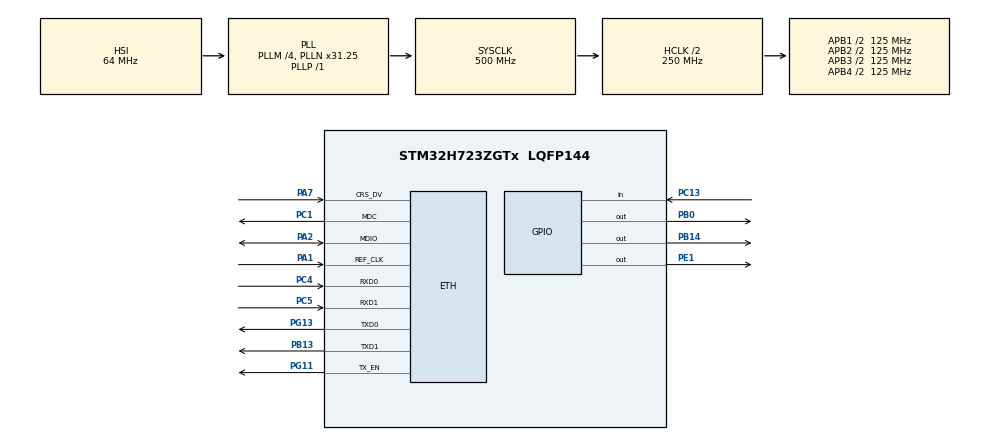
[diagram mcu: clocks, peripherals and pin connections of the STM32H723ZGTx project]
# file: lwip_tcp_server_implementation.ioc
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CORTEX_M7.default_mode_Activation=1
ETH.MediaInterface=HAL_ETH_RMII_MODE
FREERTOS.Tasks01=defaultTask,24,512,StartDefaultTask,Default,NULL,Dynamic,NULL,NULL;myTask02,8,512,ServerTask,Default,NULL,Dynamic,NULL,NULL
FREERTOS.configMINIMAL_STACK_SIZE=512
FREERTOS.configUSE_NEWLIB_REENTRANT=1
LWIP.BSP.number=1
LWIP.GATEWAY_ADDRESS=192.168.001.001
LWIP.IP_ADDRESS=192.168.001.010
LWIP.LWIP_DHCP=0
LWIP.NETMASK_ADDRESS=255.255.255.000
LWIP.Version=v2.1.2_Cube
LWIP0.BSP.STBoard=false
LWIP0.BSP.api=BSP_COMPONENT_DRIVER
LWIP0.BSP.component=LAN8742
LWIP0.BSP.instance=LAN8742
LWIP0.BSP.name=Driver_PHY
LWIP0.BSP.semaphore=S_LAN8742
LWIP0.BSP.solution=LAN8742
Mcu.Family=STM32H7
Mcu.Name=STM32H723ZGTx
Mcu.Package=LQFP144
NUCLEO-H723ZG.BUTTON=1
NUCLEO-H723ZG.LD1=true
NUCLEO-H723ZG.LD2=true
NUCLEO-H723ZG.LD3=true
NUCLEO-H723ZG.VCP=true
NVIC.ETH_IRQn=true\:5\:0\:false\:false\:true\:true\:true\:true\:true
NVIC.EXTI15_10_IRQn=true\:5\:0\:false\:false\:true\:true\:false\:true\:true
NVIC.PriorityGroup=NVIC_PRIORITYGROUP_4
NVIC.TIM6_DAC_IRQn=true\:15\:0\:false\:false\:true\:false\:false\:true\:true
NVIC.TimeBase=TIM6_DAC_IRQn
NVIC.TimeBaseIP=TIM6
PA1.Mode=RMII
PA1.Signal=ETH_REF_CLK
PA13(JTMS/SWDIO).GPIO_Label=SWDIO
PA13(JTMS/SWDIO).Signal=DEBUG_JTMS-SWDIO
PA14(JTCK/SWCLK).GPIO_Label=SWCLK
PA14(JTCK/SWCLK).Signal=DEBUG_JTCK-SWCLK
PA2.Mode=RMII
PA2.Signal=ETH_MDIO
PA7.Mode=RMII
PA7.Signal=ETH_CRS_DV
PB0.Signal=GPIO_Output
PB13.Mode=RMII
PB13.Signal=ETH_TXD1
PB14.Signal=GPIO_Output
PC1.Mode=RMII
PC1.Signal=ETH_MDC
PC13.Signal=GPIO_Input
PC14-OSC32_IN.Signal=RCC_OSC32_IN
PC15-OSC32_OUT.Signal=RCC_OSC32_OUT
PC4.Mode=RMII
PC4.Signal=ETH_RXD0
PC5.Mode=RMII
PC5.Signal=ETH_RXD1
PD8.Signal=USART3_TX
PD9.Signal=USART3_RX
PE1.Signal=GPIO_Output
PG11.Mode=RMII
PG11.Signal=ETH_TX_EN
PG13.Mode=RMII
PG13.Signal=ETH_TXD0
ProjectManager.HeapSize=0x200
ProjectManager.StackSize=0x400
ProjectManager.TargetToolchain=STM32CubeIDE
RCC.ADCFreq_Value=608000000
RCC.APB1Freq_Value=125000000
RCC.APB2Freq_Value=125000000
RCC.APB3Freq_Value=125000000
RCC.APB4Freq_Value=125000000
RCC.CortexFreq_Value=500000000
RCC.D1PPRE=RCC_APB3_DIV2
RCC.D2PPRE1=RCC_APB1_DIV2
RCC.D2PPRE2=RCC_APB2_DIV2
RCC.D3PPRE=RCC_APB4_DIV2
RCC.DIVM1=4
RCC.DIVM2=1
RCC.DIVN1=31
RCC.DIVN2=19
RCC.DIVP1=1
RCC.DIVQ1=4
RCC.HCLKFreq_Value=250000000
RCC.HPRE=RCC_HCLK_DIV2
RCC.HSE_VALUE=8000000
RCC.PLLFRACN=2048
RCC.SYSCLKFreq_VALUE=500000000
RCC.SYSCLKSource=RCC_SYSCLKSOURCE_PLLCLK
RCC.USBCLockSelection=RCC_USBCLKSOURCE_HSI48
RCC.USBFreq_Value=48000000
VP_FREERTOS_VS_CMSIS_V2.Mode=CMSIS_V2
VP_LWIP_VS_Enabled.Mode=Enabled
VP_MEMORYMAP_VS_MEMORYMAP.Mode=CurAppReg
VP_NUCLEO-H723ZG_VS_BSP_COMMON.Mode=COMMON
VP_SYS_VS_tim6.Mode=TIM6
board=NUCLEO-H723ZG

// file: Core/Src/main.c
/* USER CODE BEGIN Header */
/**
  ******************************************************************************
  * @file           : main.c
  * @brief          : Main program body
  ******************************************************************************
  * @attention
  *
  * Copyright (c) 2026 STMicroelectronics.
  * All rights reserved.
  *
  * This software is licensed under terms that can be found in the LICENSE file
  * in the root directory of this software component.
  * If no LICENSE file comes with this software, it is provided AS-IS.
  *
  ******************************************************************************
  */
/* USER CODE END Header */
#include "main.h"
#include "cmsis_os.h"
#include "lwip.h"

/* USER CODE BEGIN Includes */
#include "freertos.h"

#include "task.h"
#include "lwip/sockets.h"
#include "lwip/netdb.h"
#include "lwip/netif.h"
#include "string.h"
#include <stdio.h>
/* USER CODE END Includes */

/* USER CODE BEGIN PD */
extern struct netif gnetif;
/* USER CODE END PD */

COM_InitTypeDef BspCOMInit;

/* Definitions for defaultTask */
osThreadId_t defaultTaskHandle;
const osThreadAttr_t defaultTask_attributes = {
  .name = "defaultTask",
  .stack_size = 512 * 4,
  .priority = (osPriority_t) osPriorityNormal,
};
/* Definitions for myTask02 */
osThreadId_t myTask02Handle;
const osThreadAttr_t myTask02_attributes = {
  .name = "myTask02",
  .stack_size = 512 * 4,
  .priority = (osPriority_t) osPriorityLow,
};

void SystemClock_Config(void);
static void MPU_Config(void);
static void MX_GPIO_Init(void);
void StartDefaultTask(void *argument);
void ServerTask(void *argument);

int main(void)
{

  /* MPU Configuration--------------------------------------------------------*/
  MPU_Config();

  /* MCU Configuration--------------------------------------------------------*/

  /* Reset of all peripherals, Initializes the Flash interface and the Systick. */
  HAL_Init();

  /* Configure the system clock */
  SystemClock_Config();

  /* Initialize all configured peripherals */
  MX_GPIO_Init();

  /* Init scheduler */
  osKernelInitialize();

  /* Create the thread(s) */
  /* creation of defaultTask */
  defaultTaskHandle = osThreadNew(StartDefaultTask, NULL, &defaultTask_attributes);

  /* creation of myTask02 */
  myTask02Handle = osThreadNew(ServerTask, NULL, &myTask02_attributes);

  /* Initialize leds */
  BSP_LED_Init(LED_GREEN);
  BSP_LED_Init(LED_YELLOW);
  BSP_LED_Init(LED_RED);

  /* Initialize USER push-button, will be used to trigger an interrupt each time it's pressed.*/
  BSP_PB_Init(BUTTON_USER, BUTTON_MODE_EXTI);

  /* Initialize COM1 port (115200, 8 bits (7-bit data + 1 stop bit), no parity */
  BspCOMInit.BaudRate   = 115200;
  BspCOMInit.WordLength = COM_WORDLENGTH_8B;
  BspCOMInit.StopBits   = COM_STOPBITS_1;
  BspCOMInit.Parity     = COM_PARITY_NONE;
  BspCOMInit.HwFlowCtl  = COM_HWCONTROL_NONE;
  if (BSP_COM_Init(COM1, &BspCOMInit) != BSP_ERROR_NONE)
  {
    Error_Handler();
  }

  /* Start scheduler */
  osKernelStart();

  /* We should never get here as control is now taken by the scheduler */

  /* Infinite loop */
  while (1)
  {

  }
}

void SystemClock_Config(void)
{
  RCC_OscInitTypeDef RCC_OscInitStruct = {0};
  RCC_ClkInitTypeDef RCC_ClkInitStruct = {0};

  /** Supply configuration update enable
  */
  HAL_PWREx_ConfigSupply(PWR_LDO_SUPPLY);

  /** Configure the main internal regulator output voltage
  */
  __HAL_PWR_VOLTAGESCALING_CONFIG(PWR_REGULATOR_VOLTAGE_SCALE0);

  while(!__HAL_PWR_GET_FLAG(PWR_FLAG_VOSRDY)) {}

  /** Initializes the RCC Oscillators according to the specified parameters
  * in the RCC_OscInitTypeDef structure.
  */
  RCC_OscInitStruct.OscillatorType = RCC_OSCILLATORTYPE_HSI;
  RCC_OscInitStruct.HSIState = RCC_HSI_DIV1;
  RCC_OscInitStruct.HSICalibrationValue = 64;
  RCC_OscInitStruct.PLL.PLLState = RCC_PLL_ON;
  RCC_OscInitStruct.PLL.PLLSource = RCC_PLLSOURCE_HSI;
  RCC_OscInitStruct.PLL.PLLM = 4;
  RCC_OscInitStruct.PLL.PLLN = 31;
  RCC_OscInitStruct.PLL.PLLP = 1;
  RCC_OscInitStruct.PLL.PLLQ = 4;
  RCC_OscInitStruct.PLL.PLLR = 2;
  RCC_OscInitStruct.PLL.PLLRGE = RCC_PLL1VCIRANGE_3;
  RCC_OscInitStruct.PLL.PLLVCOSEL = RCC_PLL1VCOWIDE;
  RCC_OscInitStruct.PLL.PLLFRACN = 2048;
  if (HAL_RCC_OscConfig(&RCC_OscInitStruct) != HAL_OK)
  {
    Error_Handler();
  }

  /** Initializes the CPU, AHB and APB buses clocks
  */
  RCC_ClkInitStruct.ClockType = RCC_CLOCKTYPE_HCLK|RCC_CLOCKTYPE_SYSCLK
                              |RCC_CLOCKTYPE_PCLK1|RCC_CLOCKTYPE_PCLK2
                              |RCC_CLOCKTYPE_D3PCLK1|RCC_CLOCKTYPE_D1PCLK1;
  RCC_ClkInitStruct.SYSCLKSource = RCC_SYSCLKSOURCE_PLLCLK;
  RCC_ClkInitStruct.SYSCLKDivider = RCC_SYSCLK_DIV1;
  RCC_ClkInitStruct.AHBCLKDivider = RCC_HCLK_DIV2;
  RCC_ClkInitStruct.APB3CLKDivider = RCC_APB3_DIV2;
  RCC_ClkInitStruct.APB1CLKDivider = RCC_APB1_DIV2;
  RCC_ClkInitStruct.APB2CLKDivider = RCC_APB2_DIV2;
  RCC_ClkInitStruct.APB4CLKDivider = RCC_APB4_DIV2;

  if (HAL_RCC_ClockConfig(&RCC_ClkInitStruct, FLASH_LATENCY_3) != HAL_OK)
  {
    Error_Handler();
  }
}

static void MX_GPIO_Init(void)
{

  /* GPIO Ports Clock Enable */
  __HAL_RCC_GPIOC_CLK_ENABLE();
  __HAL_RCC_GPIOA_CLK_ENABLE();
  __HAL_RCC_GPIOB_CLK_ENABLE();
  __HAL_RCC_GPIOG_CLK_ENABLE();

}

void StartDefaultTask(void *argument)
{
  /* init code for LWIP */
  MX_LWIP_Init();
  for(;;)
  {
    osDelay(1);
  }
}

void ServerTask(void *argument)
{
  /* USER CODE BEGIN ServerTask */
  /* Infinite loop */
	 int sock = -1, client = -1, SERVER_PORT = 5000, RX_BUFFER_SIZE =512, bin, lis;
	 struct sockaddr_in server_addr, client_addr;
	 socklen_t addr_len;
	 char buffer[RX_BUFFER_SIZE];
	 int recv_len;
	 while(1){
		 if(sock < 0){
			 while (netif_is_link_up(&gnetif) == 0)
			 {
			     printf("Waiting for link...\n");
			     osDelay(500);
			 }

			 while (gnetif.ip_addr.addr == 0)
			 {
			     printf("Waiting for IP...\n");
			     osDelay(500);
			 }

			 printf("Network Ready\n");
			sock = socket(AF_INET, SOCK_STREAM, 0);
			if (sock < 0)
			{
				 printf("Socket creation failed\n");
				 vTaskDelay(pdMS_TO_TICKS(1000));
				 continue;
			}
			printf("socket created\n\r");
			server_addr.sin_family = AF_INET;
			server_addr.sin_port = htons(8888);
			server_addr.sin_addr.s_addr = inet_addr("192.168.1.10");
			client_addr.sin_family = AF_INET;
			client_addr.sin_port = htons(SERVER_PORT);
			client_addr.sin_addr.s_addr = inet_addr("192.168.1.73");

			bin = bind(sock, (struct sockaddr *)&server_addr, sizeof(server_addr));
			if(bin < 0){
				printf("binding failed\n");
				vTaskDelay(pdMS_TO_TICKS(1000));
				continue;
			} printf("binding passed\n\r");
			lis =  listen(sock, 5);
			if(lis < 0){
				printf("listen failed\n");
				vTaskDelay(pdMS_TO_TICKS(1000));
				continue;
			}
			printf("server is listening\n\r");
			printf("SOCKET TCP Server listening on port %d\n\r", SERVER_PORT);
			 while (1){
				 addr_len = sizeof(client_addr);
				 printf("connection to the client received\n\r");

				 // Accept client
				 client = accept(sock, (struct sockaddr *)&client_addr, &addr_len);
				 printf("client returned %d\n\r", client);
				 if (client >= 0)
				 {
				    printf("Client connected\n\r");
				    	while (1){
				             recv_len = recv(client, buffer, RX_BUFFER_SIZE, 0);

				             if(recv_len > 0){
				             			buffer[recv_len] = 0;
				             			printf("reply received: %s\n", buffer);
				             		} else if(recv_len == 0){
				             			printf("server closed\n\r");
				             			close(sock);
				             			sock = -1;
				             			continue;
				             		}
				             		else{
				             			printf("error\n\r");
				             		}
				             		const char tx_msg[] = "Hello from STM32\n\r";
				             		send(client, tx_msg, strlen(tx_msg), 0);
				             		vTaskDelay(pdMS_TO_TICKS(100));
				    	}
				    	closesocket(client);
				        printf("Client disconnected\n");
				        }
				  }
		 }}
  /* USER CODE END ServerTask */
}

 /* MPU Configuration */

void MPU_Config(void)
{
  MPU_Region_InitTypeDef MPU_InitStruct = {0};

  /* Disables the MPU */
  HAL_MPU_Disable();

  /** Initializes and configures the Region and the memory to be protected
  */
  MPU_InitStruct.Enable = MPU_REGION_ENABLE;
  MPU_InitStruct.Number = MPU_REGION_NUMBER0;
  MPU_InitStruct.BaseAddress = 0x0;
  MPU_InitStruct.Size = MPU_REGION_SIZE_4GB;
  MPU_InitStruct.SubRegionDisable = 0x87;
  MPU_InitStruct.TypeExtField = MPU_TEX_LEVEL0;
  MPU_InitStruct.AccessPermission = MPU_REGION_NO_ACCESS;
  MPU_InitStruct.DisableExec = MPU_INSTRUCTION_ACCESS_DISABLE;
  MPU_InitStruct.IsShareable = MPU_ACCESS_SHAREABLE;
  MPU_InitStruct.IsCacheable = MPU_ACCESS_NOT_CACHEABLE;
  MPU_InitStruct.IsBufferable = MPU_ACCESS_NOT_BUFFERABLE;

  HAL_MPU_ConfigRegion(&MPU_InitStruct);
  /* Enables the MPU */
  HAL_MPU_Enable(MPU_PRIVILEGED_DEFAULT);

}

void HAL_TIM_PeriodElapsedCallback(TIM_HandleTypeDef *htim)
{
  if (htim->Instance == TIM6)
  {
    HAL_IncTick();
  }
}

void Error_Handler(void)
{
  __disable_irq();
  while (1)
  {
  }
}
